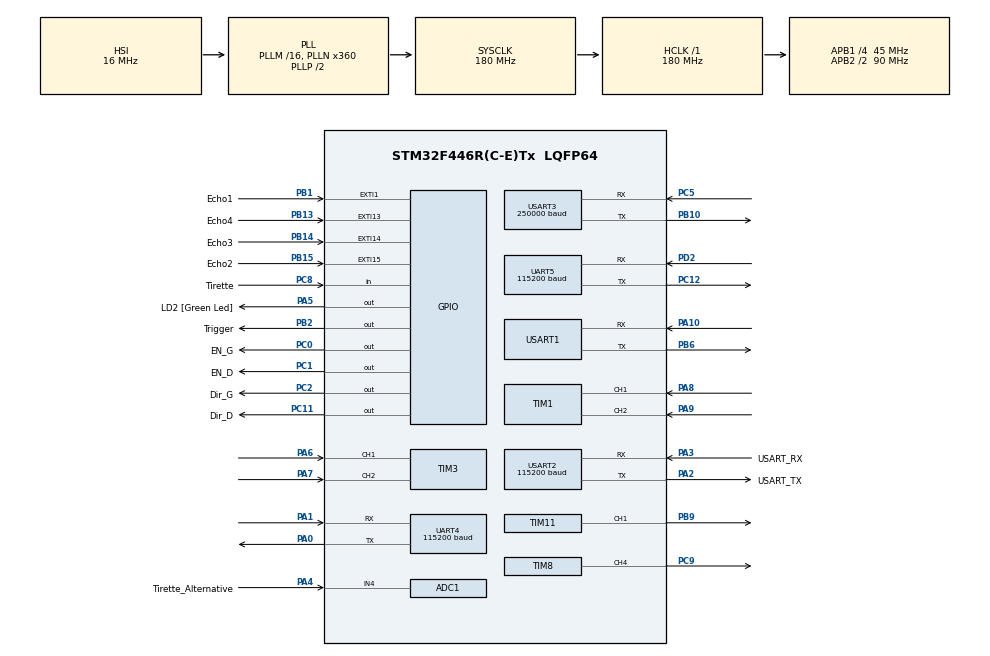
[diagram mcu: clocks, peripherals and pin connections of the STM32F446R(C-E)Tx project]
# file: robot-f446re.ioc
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Mcu.Family=STM32F4
PH0-OSC_IN.Signal=RCC_OSC_IN
RCC.CortexFreq_Value=180000000
PB10.Mode=Asynchronous
NVIC.TIM6_DAC_IRQn=true\:2\:0\:true\:false\:true\:true\:true
PC12.Signal=UART5_TX
PB14.GPIO_Label=Echo3
PA14.GPIO_Label=TCK
TIM3.EncoderMode=TIM_ENCODERMODE_TI12
PC0.GPIO_Label=EN_G
TIM1.EncoderMode=TIM_ENCODERMODE_TI12
TIM8.Channel-PWM\ Generation4\ CH4=TIM_CHANNEL_4
PC5.Mode=Asynchronous
PB13.GPIO_Label=Echo4
PB13.Signal=GPXTI13
PB15.Signal=GPXTI15
RCC.SYSCLKSource=RCC_SYSCLKSOURCE_PLLCLK
ProjectManager.StackSize=0x400
NVIC.UART5_IRQn=true\:0\:0\:true\:false\:true\:true\:true
VP_TIM7_VS_ClockSourceINT.Mode=Enable_Timer
NVIC.EXTI1_IRQn=true\:0\:0\:false\:false\:true\:true\:true
USART3.BaudRate=250000
TIM8.Pulse-PWM\ Generation4\ CH4=500
UART4.BaudRate=115200
RCC.HCLKFreq_Value=180000000
RCC.APB2TimFreq_Value=180000000
PB1.GPIO_ModeDefaultEXTI=GPIO_MODE_IT_RISING_FALLING
PB6.Signal=USART1_TX
PB6.Mode=Asynchronous
TIM7.Period=9999
RCC.AHBFreq_Value=180000000
PH0-OSC_IN.Mode=HSE-External-Oscillator
NVIC.EXTI15_10_IRQn=true\:0\:0\:false\:false\:true\:true\:true
ADC1.Channel-0\#ChannelRegularConversion=ADC_CHANNEL_4
RCC.HSE_VALUE=8000000
PB2.Signal=GPIO_Output
PC14-OSC32_IN.Mode=LSE-External-Oscillator
PA14.Mode=Serial_Wire
PB1.GPIO_Label=Echo1
PC11.GPIO_Label=Dir_D
NVIC.TIM2_IRQn=true\:1\:0\:true\:false\:true\:true\:true
PA8.Signal=S_TIM1_CH1
SH.S_TIM3_CH1.0=TIM3_CH1,Encoder_Interface
TIM4.Period=90
TIM6.Period=99
ADC1.SamplingTime-0\#ChannelRegularConversion=ADC_SAMPLETIME_3CYCLES
RCC.FLatency-AdvancedSettings=FLASH_LATENCY_5
PH1-OSC_OUT.Mode=HSE-External-Oscillator
Mcu.Package=LQFP64
PB9.Signal=S_TIM11_CH1
TIM2.Prescaler=2686
PB1.Signal=GPXTI1
PA6.Signal=S_TIM3_CH1
SH.S_TIM8_CH4.0=TIM8_CH4,PWM Generation4 CH4
USART2.VirtualMode=VM_ASYNC
PA2.GPIO_Label=USART_TX
PA10.Signal=USART1_RX
TIM7.AutoReloadPreload=TIM_AUTORELOAD_PRELOAD_DISABLE
TIM8.Prescaler=179
RCC.APB2CLKDivider=RCC_HCLK_DIV2
RCC.APB1TimFreq_Value=90000000
UART5.BaudRate=115200
PC5.Signal=USART3_RX
SH.S_TIM11_CH1.0=TIM11_CH1,PWM Generation1 CH1
PA4.GPIO_Label=Tirette_Alternative
PC2.GPIO_Label=Dir_G
NVIC.TIM7_IRQn=true\:2\:0\:true\:false\:true\:true\:true
PA3.Signal=USART2_RX
NVIC.UART4_IRQn=true\:0\:0\:true\:false\:true\:true\:true
PB3.GPIO_Label=SWO
PB14.GPIO_ModeDefaultEXTI=GPIO_MODE_IT_RISING_FALLING
PC15-OSC32_OUT.Mode=LSE-External-Oscillator
ADC1.Rank-0\#ChannelRegularConversion=1
TIM3.CounterMode=TIM_COUNTERMODE_UP
PA10.Mode=Asynchronous
TIM3.AutoReloadPreload=TIM_AUTORELOAD_PRELOAD_ENABLE
TIM1.CounterMode=TIM_COUNTERMODE_UP
PC11.Signal=GPIO_Output
PC8.Signal=GPIO_Input
TIM6.Prescaler=8999
PC2.Signal=GPIO_Output
VP_TIM6_VS_ClockSourceINT.Mode=Enable_Timer
TIM11.Prescaler=179
UART5.VirtualMode=Asynchronous
PC0.Signal=GPIO_Output
RCC.APB1CLKDivider=RCC_HCLK_DIV4
UART4.VirtualMode=Asynchronous
PC14-OSC32_IN.Signal=RCC_OSC32_IN
PB13.GPIO_ModeDefaultEXTI=GPIO_MODE_IT_RISING_FALLING
NVIC.USART2_IRQn=true\:5\:0\:true\:false\:true\:true\:true
USART2.BaudRate=115200
PA0-WKUP.Signal=UART4_TX
VP_TIM11_VS_ClockSourceINT.Mode=Enable_Timer
PC8.GPIO_Label=Tirette
PA0-WKUP.Mode=Asynchronous
PA3.Mode=Asynchronous
PA13.Signal=SYS_JTMS-SWDIO
SH.S_TIM1_CH1.0=TIM1_CH1,Encoder_Interface
ProjectManager.TargetToolchain=STM32CubeIDE
PA9.Signal=S_TIM1_CH2
VP_TIM8_VS_ClockSourceINT.Mode=Internal
RCC.USBFreq_Value=180000000
TIM4.Prescaler=1
PC15-OSC32_OUT.Signal=RCC_OSC32_OUT
PA1.Signal=UART4_RX
PB10.Signal=USART3_TX
PB14.Signal=GPXTI14
PD2.Mode=Asynchronous
PA5.Signal=GPIO_Output
SH.S_TIM3_CH2.0=TIM3_CH2,Encoder_Interface
PB15.GPIO_ModeDefaultEXTI=GPIO_MODE_IT_RISING_FALLING
PC12.Mode=Asynchronous
TIM7.Prescaler=8999
TIM8.AutoReloadPreload=TIM_AUTORELOAD_PRELOAD_DISABLE
board=NUCLEO-F446RE
RCC.VCOOutputFreq_Value=360000000
TIM11.Period=1000
RCC.APB2Freq_Value=90000000
PA1.Mode=Asynchronous
PB15.GPIO_Label=Echo2
SH.S_TIM1_CH2.0=TIM1_CH2,Encoder_Interface
VP_TIM2_VS_ClockSourceINT.Mode=Internal
PC1.GPIO_Label=EN_D
PH1-OSC_OUT.Signal=RCC_OSC_OUT
SH.ADCx_IN4.0=ADC1_IN4,IN4
TIM2.Period=999
PA13.Mode=Serial_Wire
Mcu.Name=STM32F446R(C-E)Tx
PA2.Signal=USART2_TX
PA13.GPIO_Label=TMS
TIM8.Period=1000
RCC.48MHZClocksFreq_Value=84000000
PC8.GPIO_PuPd=GPIO_NOPULL
PB3.Signal=SYS_JTDO-SWO
PA4.Signal=ADCx_IN4
RCC.SYSCLKFreq_VALUE=180000000
ADC1.master=1
PA5.GPIO_Label=LD2 [Green Led]
TIM1.IC1Filter=10
USART3.VirtualMode=VM_ASYNC
USART1.VirtualMode=VM_ASYNC
PA14.Signal=SYS_JTCK-SWCLK
PB2.GPIO_Label=Trigger
ProjectManager.HeapSize=0x200
RCC.HSI_VALUE=16000000
VP_TIM4_VS_ClockSourceINT.Mode=Internal
NVIC.PriorityGroup=NVIC_PRIORITYGROUP_4
ADC1.NbrOfConversionFlag=1
RCC.PLLN=360
TIM11.Channel=TIM_CHANNEL_1
PA2.Mode=Asynchronous
PC9.Signal=S_TIM8_CH4
PD2.Signal=UART5_RX
NVIC.TIM4_IRQn=true\:1\:0\:true\:false\:true\:true\:true
RCC.APB1Freq_Value=45000000
PC1.Signal=GPIO_Output
PA3.GPIO_Label=USART_RX
PA7.Signal=S_TIM3_CH2

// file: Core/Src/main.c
/* USER CODE BEGIN Header */
/**
 ******************************************************************************
 * @file           : main.c
 * @brief          : Main program body
 ******************************************************************************
 * @attention
 *
 * <h2><center>&copy; Copyright (c) 2020 STMicroelectronics.
 * All rights reserved.</center></h2>
 *
 * This software component is licensed by ST under BSD 3-Clause license,
 * the "License"; You may not use this file except in compliance with the
 * License. You may obtain a copy of the License at:
 *                        opensource.org/licenses/BSD-3-Clause
 *
 ******************************************************************************
 */
/* USER CODE END Header */
#include "main.h"
#include "adc.h"
#include "tim.h"
#include "usart.h"
#include "gpio.h"

/* USER CODE BEGIN Includes */
#include <stdio.h>
#include "retarget.h" // permet de printf()
#include <string.h>

#include "config.h" // Fichier de configuration
#include "DRV8825.h"
#include "moteurs.h"
#include "AX12.h"
#include "actionneurs.h"
#include "asservissement.h"
#include "strategie.h"
#include "lidar.h"
#include "ihm.h"
#include "HC-SR04.h"

/* USER CODE END Includes */

/* USER CODE BEGIN PV */
int cptTempsMatch = 0;
float g_ADCValue = 0;
/* USER CODE END PV */

void SystemClock_Config(void);
/* USER CODE BEGIN PFP */
int initTimers();
int initSerials();
/* USER CODE END PFP */

int main(void)
{

  /* MCU Configuration--------------------------------------------------------*/

  /* Reset of all peripherals, Initializes the Flash interface and the Systick. */
  HAL_Init();

  /* Configure the system clock */
  SystemClock_Config();

  /* Initialize all configured peripherals */
  MX_GPIO_Init();
  MX_USART2_UART_Init();
  MX_TIM1_Init();
  MX_TIM8_Init();
  MX_TIM11_Init();
  MX_UART4_Init();
  MX_UART5_Init();
  MX_USART3_UART_Init();
  MX_TIM3_Init();
  MX_TIM7_Init();
  MX_USART1_UART_Init();
  MX_TIM2_Init();
  MX_ADC1_Init();
  MX_TIM6_Init();
  MX_TIM4_Init();
  /* USER CODE BEGIN 2 */

  initSerials();

  port_depart = BLEU;
  initStrategie();

  initMoteurs();
  initPinces();
  initBras();
  initFlag();
  initUltrasons();

  indexStrategie = 1; // Variable parcourant le tableau de stratégie
  initTimers();

  /* USER CODE END 2 */

  /* Infinite loop */
  /* USER CODE BEGIN WHILE */

	float voltage = 0;

	do{
		#if MODULE_TIRETTE == TRUE
			HAL_ADC_Start(&hadc1);
			if (HAL_ADC_PollForConversion(&hadc1, 1000000) == HAL_OK)
			{
				g_ADCValue = HAL_ADC_GetValue(&hadc1);
				voltage = g_ADCValue * (3.3 / 4096.0);
				#if MODULE_DEBUG && DEBUG_TIRETTE
					printf("%f\r\n",voltage);
				#endif
			}

			if((voltage < (float)TIRETTE_SEUIL) == TRUE && match_started == FALSE){
				match_started = TRUE;
				initStrategie();
			}
		#else
			match_started = TRUE;

		#endif
	}
	while(match_started == FALSE);

	#if MODULE_LIDAR
		HAL_UART_Receive_IT(&huart5, (uint8_t*)&buff_lidar, 1);
	#endif

	cptTempsMatch = 0;

	while (1)
	{
		#if MODULE_DEBUG
			#if DEBUG_ULTRASONS
			  debugUltrasons();
			  HAL_Delay(50);
			#endif

			#if DEBUG_LIDAR
			  //printf("Lidar %d %d\r\n", StopFront, StopBack);
			  HAL_Delay(50);
			#endif
		#endif
    /* USER CODE END WHILE */

	}
}

void SystemClock_Config(void)
{
  RCC_OscInitTypeDef RCC_OscInitStruct = {0};
  RCC_ClkInitTypeDef RCC_ClkInitStruct = {0};

  /** Configure the main internal regulator output voltage
  */
  __HAL_RCC_PWR_CLK_ENABLE();
  __HAL_PWR_VOLTAGESCALING_CONFIG(PWR_REGULATOR_VOLTAGE_SCALE1);
  /** Initializes the RCC Oscillators according to the specified parameters
  * in the RCC_OscInitTypeDef structure.
  */
  RCC_OscInitStruct.OscillatorType = RCC_OSCILLATORTYPE_HSI;
  RCC_OscInitStruct.HSIState = RCC_HSI_ON;
  RCC_OscInitStruct.HSICalibrationValue = RCC_HSICALIBRATION_DEFAULT;
  RCC_OscInitStruct.PLL.PLLState = RCC_PLL_ON;
  RCC_OscInitStruct.PLL.PLLSource = RCC_PLLSOURCE_HSI;
  RCC_OscInitStruct.PLL.PLLM = 16;
  RCC_OscInitStruct.PLL.PLLN = 360;
  RCC_OscInitStruct.PLL.PLLP = RCC_PLLP_DIV2;
  RCC_OscInitStruct.PLL.PLLQ = 2;
  RCC_OscInitStruct.PLL.PLLR = 2;
  if (HAL_RCC_OscConfig(&RCC_OscInitStruct) != HAL_OK)
  {
    Error_Handler();
  }
  /** Activate the Over-Drive mode
  */
  if (HAL_PWREx_EnableOverDrive() != HAL_OK)
  {
    Error_Handler();
  }
  /** Initializes the CPU, AHB and APB buses clocks
  */
  RCC_ClkInitStruct.ClockType = RCC_CLOCKTYPE_HCLK|RCC_CLOCKTYPE_SYSCLK
                              |RCC_CLOCKTYPE_PCLK1|RCC_CLOCKTYPE_PCLK2;
  RCC_ClkInitStruct.SYSCLKSource = RCC_SYSCLKSOURCE_PLLCLK;
  RCC_ClkInitStruct.AHBCLKDivider = RCC_SYSCLK_DIV1;
  RCC_ClkInitStruct.APB1CLKDivider = RCC_HCLK_DIV4;
  RCC_ClkInitStruct.APB2CLKDivider = RCC_HCLK_DIV2;

  if (HAL_RCC_ClockConfig(&RCC_ClkInitStruct, FLASH_LATENCY_5) != HAL_OK)
  {
    Error_Handler();
  }
}

/* USER CODE BEGIN 4 */

int initTimers(){

	#if MODULE_ODOMETRIE
		HAL_TIM_Encoder_Start(&CODEUR_D, TIM_CHANNEL_ALL); // htim1
		HAL_TIM_Encoder_Start(&CODEUR_G, TIM_CHANNEL_ALL); // htim3
	#endif

	#if MODULE_ASSERVISSEMENT
		HAL_TIM_Base_Start_IT(&htim2); // 15ms
	#endif

	#if MODULE_ULTRASONS
		HAL_TIM_Base_Start_IT(&htim4); 	// Period : 1us
	#endif

	#if MODULE_COMPTEUR
		HAL_TIM_Base_Start_IT(&htim7); // 1sec
	#endif

	HAL_TIM_Base_Start_IT(&htim6); // 10ms

	return 0;
}

int initSerials(){
	#if MODULE_DEBUG == 1
		RetargetInit(&huart2);
		printf("Mode debug actif\r\n");
	#endif

	/*
	#if MODULE_LIDAR
		HAL_UART_Receive_IT(&huart5, (uint8_t*)&buff_lidar, 1);
	#endif
	*/

	#if MODULE_IHM
		HAL_UART_Receive_IT(&huart4, (uint8_t*)&buff_ihm, 1);
	#endif

	return 0;
}

int initStrategie(){
	if(port_depart == BLEU){
		ODO_setAngle(START_BLEU_ANGLE);
		ODO_setX(consigneBleu[0].x);
		ODO_setY(consigneBleu[0].y);
		consigne = consigneBleu;
	}
	else if(port_depart == JAUNE){
		ODO_setAngle(START_JAUNE_ANGLE);
		ODO_setX(consigneJaune[0].x);
		ODO_setY(consigneJaune[0].y);
		consigne = consigneJaune;
	}

	return 0;
}

void HAL_TIM_PeriodElapsedCallback(TIM_HandleTypeDef *htim){

	if(htim->Instance == TIM2){
		if(indexStrategie < nb_points && match_started == 1)
			//ASSERV_update2(consigne[indexStrategie], consigne[indexStrategie-1]);
			ASSERV_update2(consigne[indexStrategie], &consigne[indexStrategie-1]);
	}

	if(htim->Instance == TIM4){
		cpt_us_global++;

		if(cpt_us_global >= 0 && cpt_us_global < 10){ // && stepUS == STEP_RESET
//			HAL_GPIO_WritePin(Sensors[indexUS].Trigger_GPIO_Port,
//					Sensors[indexUS].Trigger_GPIO_Port, GPIO_PIN_SET);
			HAL_GPIO_WritePin(GPIOB, GPIO_PIN_2, GPIO_PIN_SET);
		}
		else {
//			HAL_GPIO_WritePin(Sensors[indexUS].Trigger_GPIO_Port,
//					Sensors[indexUS].Trigger_GPIO_Port, GPIO_PIN_RESET);
			HAL_GPIO_WritePin(GPIOB, GPIO_PIN_2, GPIO_PIN_RESET);

			if(stepUS == STEP_RESET) stepUS = STEP_TRIG;
		}

		if(cpt_us_global >= 5000){
			cpt_us_global = 0;
			distUS[indexUS]=999;
			indexUS++;
			if(indexUS >= NB_OF_US_SENSORS) indexUS = 0;
		}
	}

	if(htim->Instance == TIM6){
		//printf("TIM6\r\n");
		cpt_back++;
		cpt_front++;
		//printf("cpt_front = %d\r\n",cpt_front);

		if (cpt_back > 100){
			StopBack = 0;
		}

		if (cpt_front > 100){
			StopFront = 0;
		}
	}

	if(htim->Instance == TIM7){
		if(match_started == TRUE){
			cptTempsMatch++;

			if (cptTempsMatch >= TEMPS_PAVILLONS){
				raiseFlag();
			}

			if (cptTempsMatch >= 98){
				stopMoteurs();
				initBras();
				initPinces();
				match_started = 0;
			}
		}
	}
}

void HAL_UART_RxCpltCallback(UART_HandleTypeDef* huart){
	if(huart->Instance == UART5){
		strcat(lidarRawData,&buff_lidar);
		if(buff_lidar == '\n'){
			//getLidarData();
			getLidarData2();
			memset(lidarRawData,0,sizeof(lidarRawData));
		}
		HAL_UART_Receive_IT(&huart5, (uint8_t*)&buff_lidar, 1);
	}

	if(huart->Instance == UART4){
		if(match_started == FALSE){
			strcat(ihmRawData,&buff_ihm);
			if(buff_ihm == '\n'){
				decodeMsgIHM(ihmRawData);
				memset(ihmRawData,0,sizeof(ihmRawData));
			}
			HAL_UART_Receive_IT(&huart4, (uint8_t*)&buff_ihm, 1);
		}
	}
}

void HAL_GPIO_EXTI_Callback(uint16_t GPIO_Pin)
{
#if MODULE_ULTRASONS
  if(GPIO_Pin == GPIO_PIN_1 && indexUS == US_FRONT_LEFT)
  {
	  processUltrasons(Sensors[US_FRONT_LEFT]);
  }

  if(GPIO_Pin == GPIO_PIN_15 && indexUS == US_FRONT_RIGHT)
  {
	  processUltrasons(Sensors[US_FRONT_RIGHT]);
  }

  if(GPIO_Pin == GPIO_PIN_14 && indexUS == US_BACK_LEFT)
  {
	  processUltrasons(Sensors[US_BACK_LEFT]);
  }

  if(GPIO_Pin == GPIO_PIN_13 && indexUS == US_BACK_RIGHT)
  {
	  processUltrasons(Sensors[US_BACK_RIGHT]);
  }
#endif
}

/* USER CODE END 4 */

void Error_Handler(void)
{
}

/************************ (C) COPYRIGHT STMicroelectronics *****END OF FILE****/
